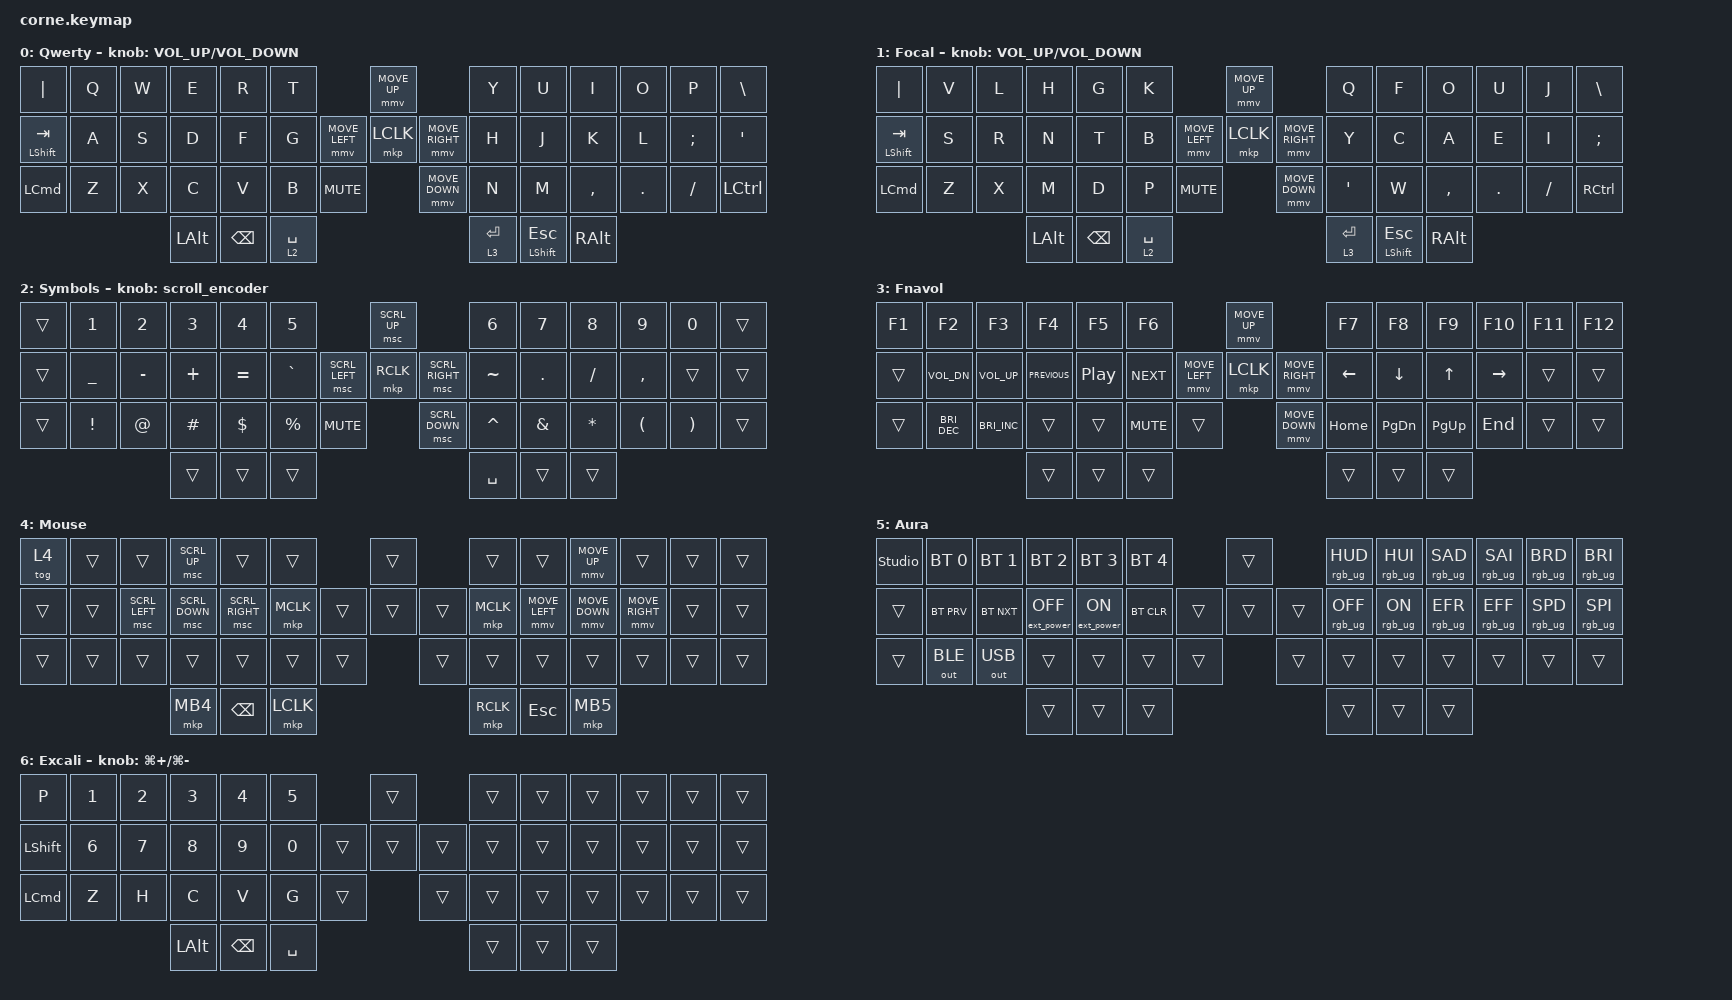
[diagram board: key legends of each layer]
/* 
                                 Keyboard Layout

  ╭────────────────────────╮             ╭────╮      ╭─────────────────────────╮
  │  0   1   2   3   4   5 │         ╭───╯  6 ╰───╮  │   7   8   9  10  11  12 │
  │ 13  14  15  16  17  18 │ ╭────╮  │ 19  20  21 │  │  22  23  24  25  26  27 │
  │ 28  29  30  31  32  33 │ │ 34 │  ╰───╮ 35 ╭───╯  │  36  37  38  39  40  41 │
  ╰───────────╮ 42  43  44 │ ╰────╯      ╰────╯      │  45  46  47 ╭───────────╯
              ╰────────────╯                         ╰─────────────╯
*/

#include <dt-bindings/zmk/mouse.h>
#include <input/processors.dtsi>
#include <behaviors.dtsi>
#include <dt-bindings/zmk/bt.h>
#include <dt-bindings/zmk/ext_power.h>
#include <dt-bindings/zmk/keys.h>
#include <dt-bindings/zmk/outputs.h>
#include <dt-bindings/zmk/pointing.h>
#include <dt-bindings/zmk/rgb.h>

// Pointer and scroll

#define ZMK_POINTING_DEFAULT_MOVE_VAL 2500  // default: 600
#define ZMK_POINTING_DEFAULT_SCRL_VAL 30    // default: 10

/*

   &mmv_input_listener {
       input-processors = <&zip_xy_scaler 2 1>;
   };

   &msc_input_listener {
       input-processors = <&zip_xy_scaler 2 1>;
   };

 */

&lt { tapping-term-ms = <175>; };

/ {
    behaviors {
        td0: td0 {
            compatible = "zmk,behavior-tap-dance";
            display-name = "Shift/Caps Lock Tap Dance";
            #binding-cells = <0>;
            bindings = <&kp LEFT_SHIFT>, <&kp CAPS>;
        };

        rgb_encoder: rgb_encoder {
            compatible = "zmk,behavior-sensor-rotate";
            #sensor-binding-cells = <0>;
            bindings = <&rgb_ug RGB_BRI>, <&rgb_ug RGB_BRD>;
        };

        scroll_encoder: scroll_encoder {
            compatible = "zmk,behavior-sensor-rotate";
            #sensor-binding-cells = <0>;
            bindings = <&msc SCRL_DOWN>, <&msc SCRL_UP>;
            tap-ms = <30>;
        };

        layer_mod: layer_modifier {
            compatible = "zmk,behavior-hold-tap";
            #binding-cells = <2>;
            flavor = "hold-preferred";
            tapping-term-ms = <125>;
            bindings = <&kp>, <&tog>;
        };

        mod_sticky_layer: mod_sticky_layer {
            compatible = "zmk,behavior-hold-tap";
            #binding-cells = <2>;
            flavor = "hold-preferred";
            tapping-term-ms = <200>;
            bindings = <&kp>, <&sl>;
        };
    };

    combos {
        compatible = "zmk,combos";

        qwerty {
            bindings = <&to 0>;
            key-positions = <47 12>;
            layers = <1>;
            timeout-ms = <100>;
            require-prior-idle-ms = <150>;
        };

        focal {
            bindings = <&to 1>;
            key-positions = <47 12>;
            layers = <0>;
            timeout-ms = <100>;
            require-prior-idle-ms = <150>;
        };

        mouse {
            bindings = <&tog 4>;
            key-positions = <12 44>;
            timeout-ms = <100>;
            require-prior-idle-ms = <150>;
        };

        aura {
            bindings = <&mo 5>;
            key-positions = <42 47>;
            timeout-ms = <100>;
            require-prior-idle-ms = <150>;
        };

        creative {
            bindings = <&tog 6>;
            key-positions = <0 42>;
            timeout-ms = <100>;
            require-prior-idle-ms = <150>;
        };

        delete_word {
            bindings = <&kp LA(BSPC)>;
            key-positions = <23 43>;
        };

        left_parenthesis {
            bindings = <&kp LEFT_PARENTHESIS>;
            key-positions = <4 15 16>;
        };

        right_parenthesis {
            bindings = <&kp RIGHT_PARENTHESIS>;
            key-positions = <8 24 25>;
        };

        left_bracket {
            bindings = <&kp LEFT_BRACKET>;
            key-positions = <17 16 15>;
        };

        right_bracket {
            bindings = <&kp RIGHT_BRACKET>;
            key-positions = <23 24 25>;
        };

        left_curly {
            bindings = <&kp LEFT_BRACE>;
            key-positions = <32 15 16>;
        };

        right_curly {
            bindings = <&kp RBRC>;
            key-positions = <37 24 25>;
        };

        lt {
            bindings = <&kp LESS_THAN>;
            key-positions = <15 16 18>;
        };

        gt {
            bindings = <&kp GREATER_THAN>;
            key-positions = <22 24 25>;
        };

        equlas_arrow {
            bindings = <&equals_arrow>;
            key-positions = <14 15 16>;
        };

        minus_arrow {
            bindings = <&minus_arrow>;
            key-positions = <24 25 26>;
        };

        go_ch {
            bindings = <&go_ch>;
            key-positions = <18 17 16>;
        };

        backslash {
            bindings = <&kp BACKSLASH>;
            key-positions = <2 16 32>;
        };

        slash {
            bindings = <&kp SLASH>;
            key-positions = <37 24 10>;
        };

        pipe {
            bindings = <&kp PIPE>;
            key-positions = <30 31 32>;
        };

        colon_equals {
            bindings = <&colon_equals>;
            key-positions = <14 26>;
        };

        tmux_prefix {
            bindings = <&kp LC(F1)>;
            key-positions = <15 26>;
        };

        terminal_prefix {
            bindings = <&kp LC(F2)>;
            key-positions = <25 26>;
        };
    };

    macros {
        equals_arrow: equals_arrow {
            compatible = "zmk,behavior-macro";
            #binding-cells = <0>;
            bindings = <&kp EQUAL &kp GT>;
        };

        minus_arrow: minus_arrow {
            compatible = "zmk,behavior-macro";
            #binding-cells = <0>;
            bindings = <&kp MINUS &kp GT>;
        };

        colon_equals: colon_equals {
            compatible = "zmk,behavior-macro";
            #binding-cells = <0>;
            bindings = <&kp COLON &kp EQUAL>;
        };

        go_ch: go_ch {
            compatible = "zmk,behavior-macro";
            #binding-cells = <0>;
            bindings = <&kp LT &kp MINUS>;
            label = "GO_CH";
        };
    };

    keymap {
        compatible = "zmk,keymap";

        Qwerty {
            display-name = "Qwerty";
            bindings = <
  &kp PIPE             &kp Q   &kp W   &kp E          &kp R           &kp T                                               &mmv MOVE_UP                           &kp Y         &kp U                &kp I                   &kp O     &kp P      &kp BACKSLASH
  &mt LEFT_SHIFT TAB   &kp A   &kp S   &kp D          &kp F           &kp G                              &mmv MOVE_LEFT   &mkp LCLK        &mmv MOVE_RIGHT       &kp H         &kp J                &kp K                   &kp L     &kp SEMI   &kp SQT
  &kp LEFT_COMMAND     &kp Z   &kp X   &kp C          &kp V           &kp B             &kp C_MUTE                        &mmv MOVE_DOWN                         &kp N         &kp M                &kp COMMA               &kp DOT   &kp FSLH   &kp LEFT_CONTROL
                                       &kp LEFT_ALT   &kp BACKSPACE   &lt 2 SPACE                                                                                &lt 3 ENTER   &mt LEFT_SHIFT ESC   &kp RALT
            >;

            sensor-bindings = <&inc_dec_kp C_VOLUME_UP C_VOLUME_DOWN>;
        };

        Focal {
            display-name = "Focal";
            bindings = <
  &kp PIPE             &kp V   &kp L   &kp H          &kp G           &kp K                                               &mmv MOVE_UP                           &kp Q         &kp F                &kp O                   &kp U     &kp J      &kp BACKSLASH
  &mt LEFT_SHIFT TAB   &kp S   &kp R   &kp N          &kp T           &kp B                              &mmv MOVE_LEFT   &mkp LCLK        &mmv MOVE_RIGHT       &kp Y         &kp C                &kp A                   &kp E     &kp I      &kp SEMI
  &kp LEFT_COMMAND     &kp Z   &kp X   &kp M          &kp D           &kp P             &kp C_MUTE                        &mmv MOVE_DOWN                         &kp SQT       &kp W                &kp COMMA               &kp DOT   &kp FSLH   &kp RCTRL
                                       &kp LEFT_ALT   &kp BACKSPACE   &lt 2 SPACE                                                                                &lt 3 ENTER   &mt LEFT_SHIFT ESC   &kp RALT
            >;

            sensor-bindings = <&inc_dec_kp C_VOLUME_UP C_VOLUME_DOWN>;
        };

        Symbols {
            display-name = "Symbols";
            bindings = <
  &trans   &kp N1            &kp N2        &kp N3     &kp N4       &kp N5                                              &msc SCRL_UP                           &kp N6      &kp N7          &kp N8         &kp N9                 &kp N0                  &trans
  &trans   &kp UNDERSCORE    &kp MINUS     &kp PLUS   &kp EQUAL    &kp GRAVE                          &msc SCRL_LEFT   &mkp RCLK        &msc SCRL_RIGHT       &kp TILDE   &kp DOT         &kp SLASH      &kp COMMA              &trans                  &trans
  &trans   &kp EXCLAMATION   &kp AT_SIGN   &kp HASH   &kp DOLLAR   &kp PERCENT       &kp C_MUTE                        &msc SCRL_DOWN                         &kp CARET   &kp AMPERSAND   &kp ASTERISK   &kp LEFT_PARENTHESIS   &kp RIGHT_PARENTHESIS   &trans
                                           &trans     &trans       &trans                                                                                     &kp SPACE   &trans          &trans
            >;

            sensor-bindings = <&scroll_encoder>;
        };

        Fnavol {
            display-name = "Fnavol";
            bindings = <
  &kp F1   &kp F2                 &kp F3                 &kp F4           &kp F5             &kp F6                                         &mmv MOVE_UP                           &kp F7           &kp F8      &kp F9         &kp F10     &kp F11   &kp F12
  &trans   &kp C_VOL_DN           &kp C_VOLUME_UP        &kp C_PREVIOUS   &kp C_PLAY_PAUSE   &kp C_NEXT                    &mmv MOVE_LEFT   &mkp LCLK        &mmv MOVE_RIGHT       &kp LEFT_ARROW   &kp DOWN    &kp UP_ARROW   &kp RIGHT   &trans    &trans
  &trans   &kp C_BRIGHTNESS_DEC   &kp C_BRIGHTNESS_INC   &trans           &trans             &kp C_MUTE       &trans                        &mmv MOVE_DOWN                         &kp HOME         &kp PG_DN   &kp PG_UP      &kp END     &trans    &trans
                                                         &trans           &trans             &trans                                                                                &trans           &trans      &trans
            >;
        };

        Mouse {
            display-name = "Mouse";
            bindings = <
  &tog 4   &trans   &trans           &msc SCRL_UP     &trans            &trans                                &trans                &trans      &trans           &mmv MOVE_UP     &trans            &trans   &trans
  &trans   &trans   &msc SCRL_LEFT   &msc SCRL_DOWN   &msc SCRL_RIGHT   &mkp MCLK                    &trans   &trans   &trans       &mkp MCLK   &mmv MOVE_LEFT   &mmv MOVE_DOWN   &mmv MOVE_RIGHT   &trans   &trans
  &trans   &trans   &trans           &trans           &trans            &trans          &trans                &trans                &trans      &trans           &trans           &trans            &trans   &trans
                                     &mkp MB4         &kp BACKSPACE     &mkp LCLK                                                   &mkp RCLK   &kp ESCAPE       &mkp MB5
            >;
        };

        Aura {
            bindings = <
  &studio_unlock   &bt BT_SEL 0   &bt BT_SEL 1   &bt BT_SEL 2        &bt BT_SEL 3       &bt BT_SEL 4                             &trans                &rgb_ug RGB_HUD   &rgb_ug RGB_HUI   &rgb_ug RGB_SAD   &rgb_ug RGB_SAI   &rgb_ug RGB_BRD   &rgb_ug RGB_BRI
  &trans           &bt BT_PRV     &bt BT_NXT     &ext_power EP_OFF   &ext_power EP_ON   &bt BT_CLR                      &trans   &trans   &trans       &rgb_ug RGB_OFF   &rgb_ug RGB_ON    &rgb_ug RGB_EFR   &rgb_ug RGB_EFF   &rgb_ug RGB_SPD   &rgb_ug RGB_SPI
  &trans           &out OUT_BLE   &out OUT_USB   &trans              &trans             &trans             &trans                &trans                &trans            &trans            &trans            &trans            &trans            &trans
                                                 &trans              &trans             &trans                                                         &trans            &trans            &trans
            >;

            label = "Aura";
        };

        Excalidraw {
            bindings = <
  &kp P              &kp N1   &kp N2   &kp N3         &kp N4          &kp N5                                &trans                &trans   &trans   &trans   &trans   &trans   &trans
  &kp LEFT_SHIFT     &kp N6   &kp N7   &kp N8         &kp N9          &kp N0                       &trans   &trans   &trans       &trans   &trans   &trans   &trans   &trans   &trans
  &kp LEFT_COMMAND   &kp Z    &kp H    &kp C          &kp V           &kp G           &trans                &trans                &trans   &trans   &trans   &trans   &trans   &trans
                                       &kp LEFT_ALT   &kp BACKSPACE   &kp SPACE                                                   &trans   &trans   &trans
            >;

            label = "Excali";
            sensor-bindings = <&inc_dec_kp LG(PLUS) LG(MINUS)>;
        };
    };
};
